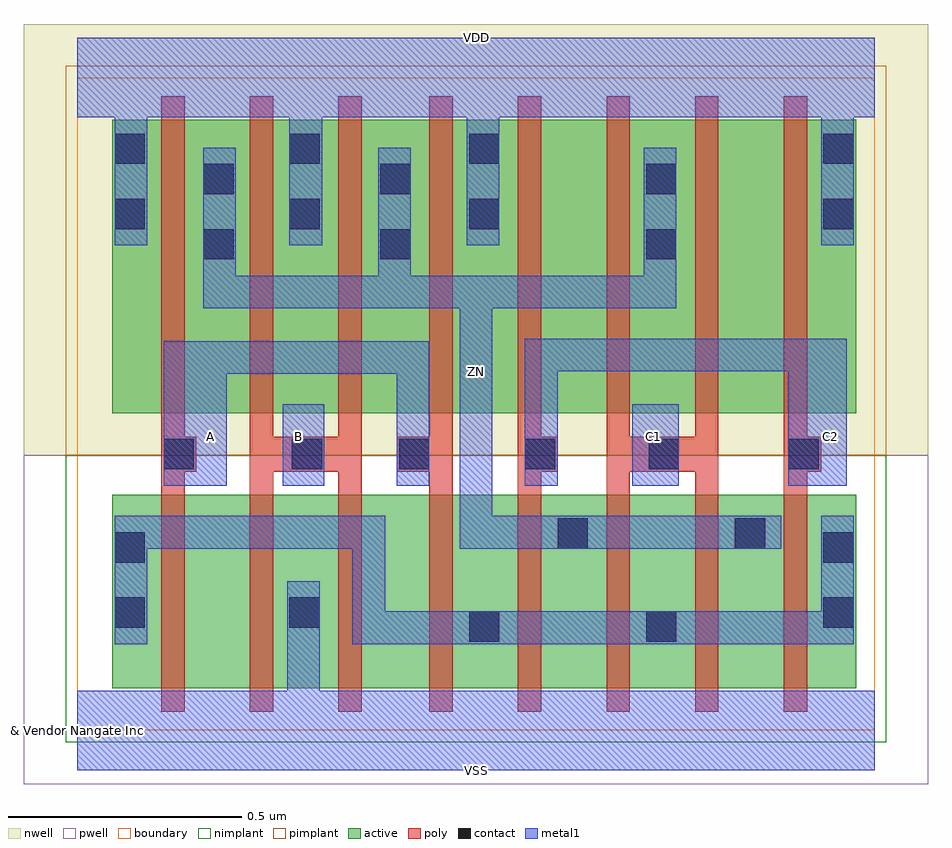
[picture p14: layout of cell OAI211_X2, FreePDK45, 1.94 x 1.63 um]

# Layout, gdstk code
import gdstk
lib = gdstk.Library(unit=1e-6, precision=1e-10)
def R(c, l, rs):  # rectangles x0, y0, x1, y1
    for r in rs: c.add(gdstk.rectangle(r[:2], r[2:], *l))
def P(c, l, *ps):  # polygons
    for p in ps: c.add(gdstk.Polygon(p, *l))
active = (1, 0)
pwell = (2, 0)
nwell = (3, 0)
nimplant = (4, 0)
pimplant = (5, 0)
poly = (9, 0)
contact = (10, 0)
metal1 = (11, 0)
boundary = (235, 0)

oai211_x2 = lib.new_cell('OAI211_X2')
R(oai211_x2, active, [(0.075,0.09,1.67,0.505), (0.075,0.68,1.67,1.31)])
R(oai211_x2, pwell, [(-0.115,-0.115,1.825,0.59)])
R(oai211_x2, nwell, [(-0.115,0.59,1.825,1.515)])
R(oai211_x2, nimplant, [(-0.025,-0.025,1.735,0.59)])
R(oai211_x2, pimplant, [(-0.025,0.59,1.735,1.425)])
P(oai211_x2, poly, [(0.18,0.04),(0.18,1.36),(0.23,1.36),(0.23,0.63),(0.255,0.63),(0.255,0.555),(0.23,0.555),(0.23,0.04)],
  [(0.37,0.04),(0.37,1.36),(0.42,1.36),(0.42,0.63),(0.56,0.63),(0.56,1.36),(0.61,1.36),(0.61,0.04),(0.56,0.04),(0.56,0.555),(0.42,0.555),(0.42,0.04)],
  [(0.755,0.04),(0.755,0.555),(0.685,0.555),(0.685,0.63),(0.755,0.63),(0.755,1.36),(0.805,1.36),(0.805,0.04)],
  [(0.945,0.04),(0.945,1.36),(0.995,1.36),(0.995,0.63),(1.03,0.63),(1.03,0.555),(0.995,0.555),(0.995,0.04)],
  [(1.135,0.04),(1.135,1.36),(1.185,1.36),(1.185,0.63),(1.325,0.63),(1.325,1.36),(1.375,1.36),(1.375,0.04),(1.325,0.04),(1.325,0.555),(1.185,0.555),(1.185,0.04)],
  [(1.515,0.04),(1.515,1.36),(1.565,1.36),(1.565,0.63),(1.595,0.63),(1.595,0.555),(1.565,0.555),(1.565,0.04)])
R(oai211_x2, contact, [(0.84,0.19,0.905,0.255), (1.22,0.19,1.285,0.255), (0.08,0.22,0.145,0.285), (0.455,0.22,0.52,0.285), (1.6,0.22,1.665,0.285), (0.08,0.36,0.145,0.425), (1.6,0.36,1.665,0.425), (1.03,0.39,1.095,0.455), (1.41,0.39,1.475,0.455), (0.185,0.56,0.25,0.625), (0.46,0.56,0.525,0.625), (0.69,0.56,0.755,0.625), (0.96,0.56,1.025,0.625), (1.225,0.56,1.29,0.625), (1.525,0.56,1.59,0.625), (0.27,1.01,0.335,1.075), (0.65,1.01,0.715,1.075), (1.22,1.01,1.285,1.075), (0.08,1.075,0.145,1.14), (0.455,1.075,0.52,1.14), (0.84,1.075,0.905,1.14), (1.6,1.075,1.665,1.14), (0.27,1.15,0.335,1.215), (0.65,1.15,0.715,1.215), (1.22,1.15,1.285,1.215), (0.08,1.215,0.145,1.28), (0.455,1.215,0.52,1.28), (0.84,1.215,0.905,1.28), (1.6,1.215,1.665,1.28)])
R(oai211_x2, metal1, [(0.44,0.525,0.53,0.7), (1.19,0.525,1.29,0.7)])
P(oai211_x2, metal1, [(0.185,0.525),(0.185,0.835),(0.755,0.835),(0.755,0.525),(0.685,0.525),(0.685,0.765),(0.32,0.765),(0.32,0.525)],
  [(0.82,0.39),(0.82,0.905),(0.27,0.905),(0.27,1.25),(0.34,1.25),(0.34,0.975),(0.645,0.975),(0.645,1.25),(0.715,1.25),(0.715,0.975),(1.215,0.975),(1.215,1.25),(1.285,1.25),(1.285,0.905),(0.89,0.905),(0.89,0.46),(1.51,0.46),(1.51,0.39)],
  [(0.96,0.525),(0.96,0.84),(1.65,0.84),(1.65,0.525),(1.525,0.525),(1.525,0.77),(1.03,0.77),(1.03,0.525)],
  [(0.08,0.185),(0.08,0.46),(0.66,0.46),(0.66,0.255),(1.595,0.255),(1.595,0.46),(1.665,0.46),(1.665,0.185),(0.59,0.185),(0.59,0.39),(0.15,0.39),(0.15,0.185)],
  [(0,-0.085),(0,0.085),(0.45,0.085),(0.45,0.32),(0.52,0.32),(0.52,0.085),(1.71,0.085),(1.71,-0.085)],
  [(0.08,1.04),(0.08,1.315),(0,1.315),(0,1.485),(1.71,1.485),(1.71,1.315),(1.665,1.315),(1.665,1.04),(1.595,1.04),(1.595,1.315),(0.905,1.315),(0.905,1.04),(0.835,1.04),(0.835,1.315),(0.525,1.315),(0.525,1.04),(0.455,1.04),(0.455,1.315),(0.15,1.315),(0.15,1.04)])
R(oai211_x2, boundary, [(0,0,1.71,1.4)])
oai211_x2.add(gdstk.Label('A', (0.285,0.63), layer=11, texttype=0))
oai211_x2.add(gdstk.Label('B', (0.475,0.63), layer=11, texttype=0))
oai211_x2.add(gdstk.Label('C1', (1.235,0.63), layer=11, texttype=0))
oai211_x2.add(gdstk.Label('C2', (1.615,0.63), layer=11, texttype=0))
oai211_x2.add(gdstk.Label('VDD', (0.855,1.485), layer=11, texttype=0))
oai211_x2.add(gdstk.Label('VSS', (0.855,-0.085), layer=11, texttype=0))
oai211_x2.add(gdstk.Label('ZN', (0.855,0.77), layer=11, texttype=0))
oai211_x2.add(gdstk.Label('& Vendor Nangate Inc', (0,0), layer=63, texttype=63))
oai211_x2.add(gdstk.Label('& Product Open Cell Library', (0,0), layer=63, texttype=63))
oai211_x2.add(gdstk.Label('& Version 2010_12', (0,0), layer=63, texttype=63))
oai211_x2.add(gdstk.Label('& Instance OAI211_X2', (0,0), layer=63, texttype=63))

lib.write_gds('OAI211_X2.gds')
